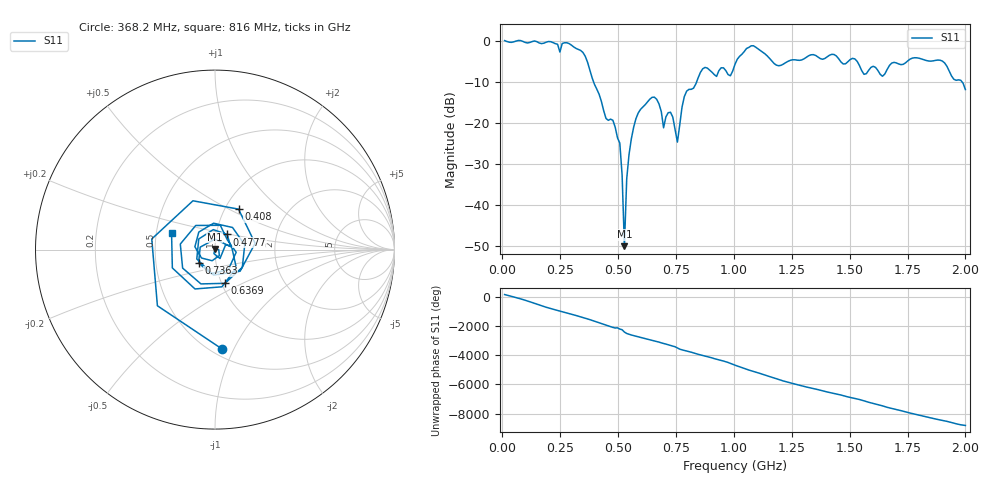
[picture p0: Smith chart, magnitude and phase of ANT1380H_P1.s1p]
!Created with skrf (http://scikit-rf.org).
# Hz S RI R 50.0
!freq ReS11 ImS11
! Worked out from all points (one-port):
!   201 points, 10 MHz to 2 GHz, reference 50 ohm
!   lowest |S11| = -50.1 dB at 527.4 MHz (marker M1), VSWR 1.01, Z = 50 + j0.308 ohm
!   |S11| at or under -10 dB: 394.8 MHz to 838.6 MHz (443.7 MHz wide, 72 % of centre); 1.987 GHz to end of sweep
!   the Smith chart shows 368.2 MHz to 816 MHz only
!   S11 on the Smith chart (normalised r, x): 368.2 MHz: 0.56, -0.90; 408 MHz: 1.16, +0.56; 477.6 MHz: 1.13, +0.19; 636.9 MHz: 1.04, -0.41; 736.4 MHz: 0.82, -0.13; 816 MHz: 0.60, +0.12
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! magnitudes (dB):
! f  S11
! 10 MHz  0.2
! 258.8 MHz  -0.5
! 368.2 MHz  -5.1
! 408 MHz  -11.7
! 447.8 MHz  -18.9
! 477.6 MHz  -19.3
! 507.5 MHz  -24.9
! 517.5 MHz  -32.7
! 527.4 MHz  -50.1
! 537.4 MHz  -33.7
! 557.2 MHz  -23.9
! 587.1 MHz  -17.5
! 636.9 MHz  -14.2
! 676.6 MHz  -15.3
! 696.5 MHz  -21.2
! 736.4 MHz  -18.5
! 756.2 MHz  -24.7
! 786.1 MHz  -13.5
! 816 MHz  -11.7
! 875.6 MHz  -6.4
! 1.005 GHz  -5.6
! 1.075 GHz  -1.1
! 1.254 GHz  -4.5
! 1.502 GHz  -4.4
! 1.642 GHz  -8.5
! 1.751 GHz  -4.8
! 1.901 GHz  -4.8
! 2 GHz  -11.8
